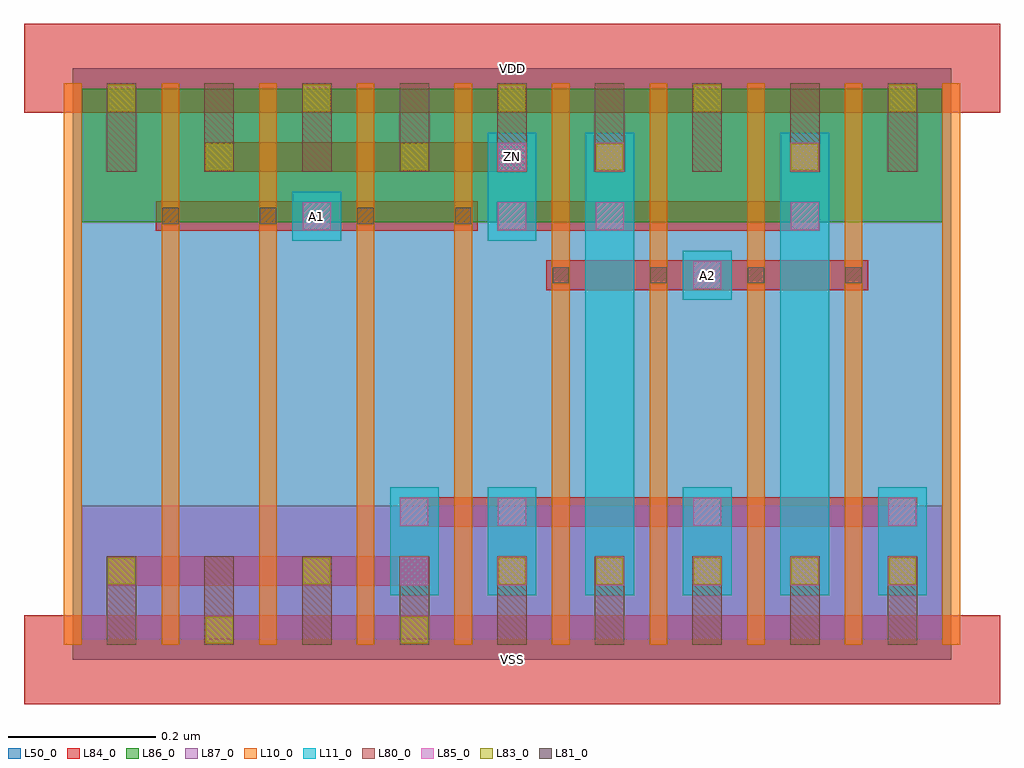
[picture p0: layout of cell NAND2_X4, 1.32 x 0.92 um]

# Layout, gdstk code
import gdstk
lib = gdstk.Library(unit=1e-6, precision=1e-09)
def R(c, l, rs):  # rectangles x0, y0, x1, y1
    for r in rs: c.add(gdstk.rectangle(r[:2], r[2:], *l))
def A(c, l, x, y, w, h, nx, ny, dx, dy):  # array of equal rectangles
    R(c, l, [(x+i*dx, y+j*dy, x+i*dx+w, y+j*dy+h) for i in range(nx) for j in range(ny)])
L10_0 = (10, 0)
L11_0 = (11, 0)
L50_0 = (50, 0)
L80_0 = (80, 0)
L81_0 = (81, 0)
L83_0 = (83, 0)
L84_0 = (84, 0)
L85_0 = (85, 0)
L86_0 = (86, 0)
L87_0 = (87, 0)

nand2_x4 = lib.new_cell('NAND2_X4')
A(nand2_x4, L10_0, -0.012, 0.02, 0.024, 0.76, 10, 1, 0.132, 0)
A(nand2_x4, L11_0, 0.561, 0.087, 0.066, 0.146, 3, 1, 0.264, 0)
R(nand2_x4, L11_0, [(0.429,0.087,0.495,0.233), (0.693,0.087,0.759,0.713), (0.957,0.087,1.023,0.713), (0.825,0.487,0.891,0.553), (0.297,0.567,0.363,0.633), (0.561,0.567,0.627,0.713)])
R(nand2_x4, L50_0, [(0,0,1.188,0.8)])
A(nand2_x4, L80_0, 0.046, 0.02, 0.04, 0.12, 9, 2, 0.132, 0.64)
A(nand2_x4, L81_0, 0.649, 0.509, 0.022, 0.022, 4, 1, 0.132, 0)
A(nand2_x4, L81_0, 0.121, 0.589, 0.022, 0.022, 4, 1, 0.132, 0)
A(nand2_x4, L83_0, 0.048, 0.102, 0.036, 0.036, 3, 1, 0.264, 0)
A(nand2_x4, L83_0, 0.708, 0.102, 0.036, 0.036, 4, 1, 0.132, 0)
A(nand2_x4, L83_0, 0.18, 0.662, 0.036, 0.036, 4, 1, 0.264, 0)
A(nand2_x4, L83_0, 0.048, 0.742, 0.036, 0.036, 5, 1, 0.264, 0)
R(nand2_x4, L83_0, [(0.18,0.022,0.216,0.058), (0.444,0.022,0.48,0.058)])
A(nand2_x4, L84_0, 0.574, 0.1, 0.04, 0.04, 5, 1, 0.132, 0)
R(nand2_x4, L84_0, [(-0.066,-0.06,1.254,0.06), (0.046,0.1,0.482,0.14), (0.442,0.18,1.142,0.22), (0.64,0.5,1.076,0.54), (0.112,0.58,0.548,0.62), (0.574,0.58,1.01,0.62), (0.178,0.66,0.614,0.7), (0.706,0.66,0.746,0.7), (0.97,0.66,1.01,0.7), (-0.066,0.74,1.254,0.86)])
A(nand2_x4, L85_0, 0.443, 0.101, 0.038, 0.038, 6, 1, 0.132, 0)
A(nand2_x4, L85_0, 0.575, 0.181, 0.038, 0.038, 3, 1, 0.264, 0)
R(nand2_x4, L85_0, [(0.443,0.181,0.481,0.219), (0.839,0.501,0.877,0.539), (0.311,0.581,0.349,0.619), (0.575,0.581,0.613,0.619), (0.707,0.581,0.745,0.619), (0.971,0.581,1.009,0.619), (0.575,0.661,0.613,0.699), (0.707,0.661,0.745,0.699), (0.971,0.661,1.009,0.699)])
R(nand2_x4, L86_0, [(0.012,0.592,1.176,0.772)])
R(nand2_x4, L87_0, [(0.012,0.028,1.176,0.208)])
nand2_x4.add(gdstk.Label('VDD', (0.594,0.8), layer=88, texttype=0))
nand2_x4.add(gdstk.Label('VSS', (0.594,0), layer=88, texttype=0))
nand2_x4.add(gdstk.Label('ZN', (0.594,0.68), layer=31, texttype=0))
nand2_x4.add(gdstk.Label('A2', (0.858,0.52), layer=31, texttype=0))
nand2_x4.add(gdstk.Label('A1', (0.33,0.6), layer=31, texttype=0))

lib.write_gds('NAND2_X4.gds')
